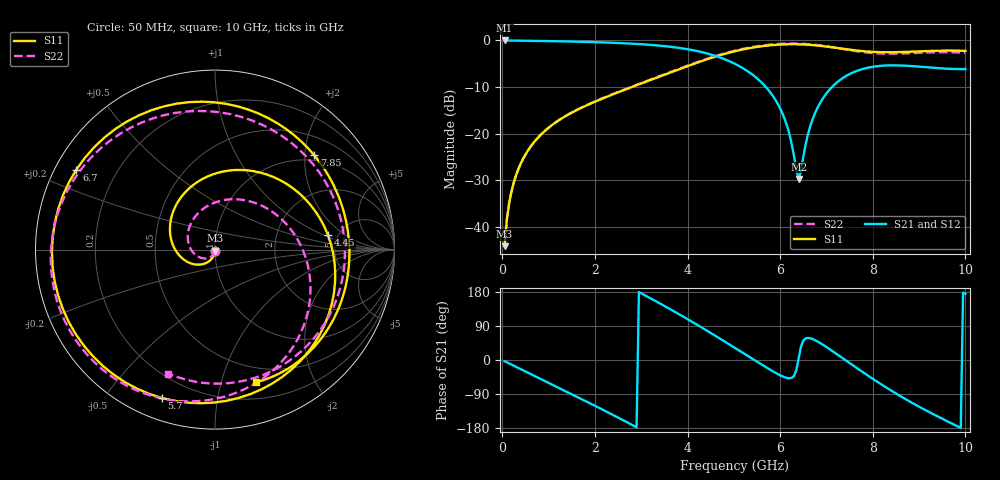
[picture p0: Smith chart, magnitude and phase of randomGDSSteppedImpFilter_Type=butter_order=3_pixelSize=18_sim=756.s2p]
! freq	dB(S11)	phase(S11)	dB(S12)	phase(S12)
!  dB(S21)	phase(S21)	dB(S22)	phase(S22)
!S-par simulation data
#  GHz  S  DB  R 50
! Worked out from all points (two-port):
!   200 points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, 50 MHz to 10 GHz, reference 50 ohm
!   highest |S21| = -0.01 dB at 50 MHz (marker M1); lowest = -29.7 dB at 6.4 GHz (marker M2)
!   |S21| within 3 dB of the highest: start of sweep to 4.499 GHz
!   lowest |S11| = -44.1 dB at 50 MHz (marker M3), VSWR 1.01, Z = 50 - j0.625 ohm
!   |S11| at or under -10 dB: start of sweep to 2.794 GHz
!   |S22| runs from -44.1 to -0.7 dB; largest |S21 - S12| = 0
!   S11 on the Smith chart (normalised r, x): 50 MHz: 1.00, -0.01; 4.45 GHz: 4.15, +1.13; 5.7 GHz: 0.10, -0.70; 6.7 GHz: 0.06, +0.27; 7.85 GHz: 0.88, +2.21; 10 GHz: 0.35, -1.29
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0.05  -44.09 -88.8  -0.01 -3.1  -0.01 -3.1  -44.10 -90.9
0.2  -32.30 -98.0  -0.02 -12.1  -0.02 -12.1  -32.33 -104.6
0.5  -24.45 -112.1  -0.06 -30.0  -0.06 -30.0  -24.47 -128.6
1.15  -17.59 -140.7  -0.16 -69.0  -0.16 -69.0  -17.58 -179.0
1.75  -14.24 -167.4  -0.30 -105.4  -0.30 -105.4  -14.19 134.7
2.65  -10.55 145.9  -0.62 -161.4  -0.62 -161.4  -10.46 69.4
3.4  -7.74 95.4  -1.12 149.5  -1.12 149.5  -7.63 21.9
3.95  -5.70 51.3  -1.80 111.4  -1.80 111.4  -5.58 -10.0
4.45  -3.95 7.3  -2.87 75.1  -2.87 75.1  -3.83 -38.7
5.05  -2.25 -48.0  -5.15 29.9  -5.15 29.9  -2.12 -74.6
5.4  -1.54 -80.9  -7.32 3.2  -7.32 3.2  -1.41 -96.6
5.7  -1.13 -109.6  -10.08 -19.5  -10.08 -19.5  -0.98 -116.2
6.1  -0.84 -148.9  -16.91 -45.7  -16.91 -45.7  -0.69 -143.8
6.4  -0.83 -179.2  -29.69 4.2  -29.69 4.2  -0.69 -165.8
6.7  -1.00 150.0  -16.92 55.2  -16.92 55.2  -0.88 170.8
7.2  -1.58 99.8  -9.22 17.6  -9.22 17.6  -1.58 128.7
7.5  -1.98 72.2  -7.21 -8.0  -7.21 -8.0  -2.09 101.8
7.85  -2.35 43.5  -5.95 -37.4  -5.95 -37.4  -2.58 69.2
8.35  -2.53 9.2  -5.35 -77.1  -5.35 -77.1  -2.84 22.4
8.8  -2.42 -16.9  -5.47 -109.7  -5.47 -109.7  -2.74 -17.2
9.3  -2.24 -42.3  -5.87 -142.6  -5.87 -142.6  -2.55 -57.3
10  -2.23 -72.9  -6.13 174.8  -6.13 174.8  -2.64 -110.6
